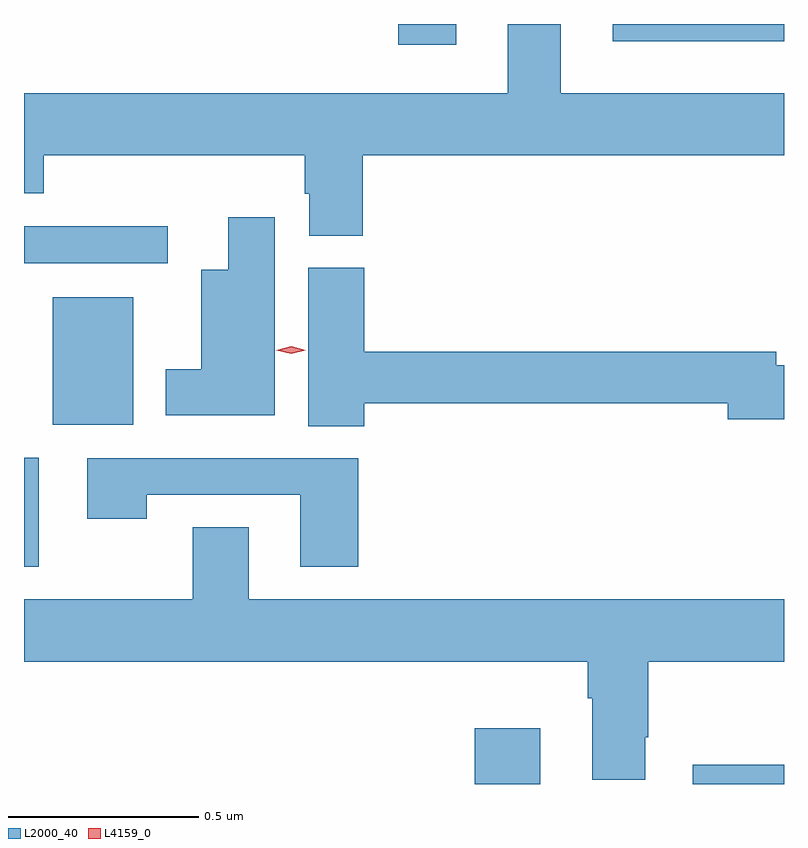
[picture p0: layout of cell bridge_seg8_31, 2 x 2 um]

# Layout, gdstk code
import gdstk
lib = gdstk.Library(unit=1e-6, precision=1e-09)
def R(c, l, rs):  # rectangles x0, y0, x1, y1
    for r in rs: c.add(gdstk.rectangle(r[:2], r[2:], *l))
def P(c, l, *ps):  # polygons
    for p in ps: c.add(gdstk.Polygon(p, *l))
L2000_40 = (2000, 40)
L4159_0 = (4159, 0)

bridge_seg8_31 = lib.new_cell('bridge_seg8_31')
R(bridge_seg8_31, L2000_40, [(1091.972,1149.478,1092.145,1149.625), (1092.546,1149.478,1092.786,1149.529), (1090.786,1150.05,1090.825,1150.336), (1090.862,1150.424,1091.074,1150.759), (1090.786,1150.848,1091.164,1150.946), (1091.771,1151.424,1091.923,1151.478), (1092.335,1151.432,1092.786,1151.478)])
P(bridge_seg8_31, L2000_40, [(1091.678,1151.132),(1092.786,1151.132),(1092.786,1151.296),(1092.199,1151.296),(1092.199,1151.478),(1092.059,1151.478),(1092.059,1151.296),(1090.786,1151.296),(1090.786,1151.033),(1090.838,1151.033),(1090.838,1151.132),(1091.525,1151.132),(1091.525,1151.031),(1091.537,1151.031),(1091.537,1150.921),(1091.678,1150.921)],
  [(1091.446,1150.969),(1091.324,1150.969),(1091.324,1150.831),(1091.252,1150.831),(1091.252,1150.57),(1091.159,1150.57),(1091.159,1150.448),(1091.446,1150.448)],
  [(1091.681,1150.48),(1092.638,1150.48),(1092.638,1150.438),(1092.786,1150.438),(1092.786,1150.58),(1092.766,1150.58),(1092.766,1150.616),(1091.681,1150.616),(1091.681,1150.836),(1091.534,1150.836),(1091.534,1150.42),(1091.681,1150.42)],
  [(1091.666,1150.335),(1090.953,1150.335),(1090.953,1150.176),(1091.109,1150.176),(1091.109,1150.239),(1091.513,1150.239),(1091.513,1150.05),(1091.666,1150.05)],
  [(1092.421,1149.601),(1092.429,1149.601),(1092.429,1149.8),(1092.786,1149.8),(1092.786,1149.964),(1091.377,1149.964),(1091.377,1150.154),(1091.23,1150.154),(1091.23,1149.964),(1090.786,1149.964),(1090.786,1149.8),(1092.269,1149.8),(1092.269,1149.704),(1092.281,1149.704),(1092.281,1149.489),(1092.421,1149.489)])
P(bridge_seg8_31, L4159_0, [(1091.489,1150.61),(1091.45,1150.62),(1091.45,1150.62),(1091.45,1150.62),(1091.489,1150.63),(1091.528,1150.62),(1091.528,1150.62),(1091.528,1150.62)])

lib.write_gds('bridge_seg8_31.gds')
